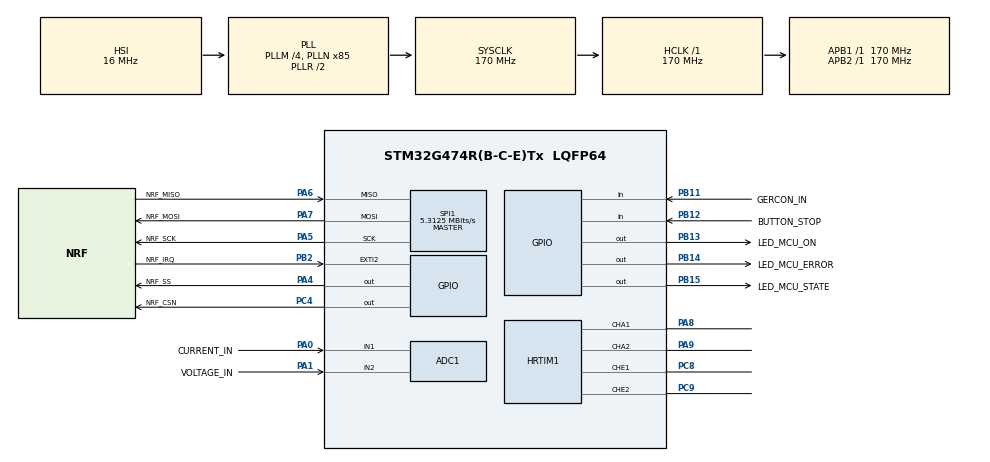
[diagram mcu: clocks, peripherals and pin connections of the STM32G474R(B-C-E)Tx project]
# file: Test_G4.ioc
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ADC1.EnableInjectedConversion=ENABLE
ADC1.EnableRegularConversion=DISABLE
ADC1.InjNumberOfConversion=2
ADC1.InjectedChannel-1\#ChannelInjectedConversion=ADC_CHANNEL_1
ADC1.InjectedChannel-2\#ChannelInjectedConversion=ADC_CHANNEL_2
ADC1.InjectedOffsetNumber-1\#ChannelInjectedConversion=ADC_OFFSET_NONE
ADC1.InjectedOffsetNumber-2\#ChannelInjectedConversion=ADC_OFFSET_NONE
ADC1.InjectedRank-1\#ChannelInjectedConversion=1
ADC1.InjectedRank-2\#ChannelInjectedConversion=2
ADC1.InjectedSamplingTime-1\#ChannelInjectedConversion=ADC_SAMPLETIME_47CYCLES_5
ADC1.InjectedSamplingTime-2\#ChannelInjectedConversion=ADC_SAMPLETIME_47CYCLES_5
ADC1.Rank2_Channel=ADC_CHANNEL_2
ADC1.master=1
HRTIM1.CompareUnit1-MasterTimer=HRTIM_COMPAREUNIT_1
HRTIM1.CompareUnit1-Output_TA1TA2=HRTIM_COMPAREUNIT_1
HRTIM1.CompareUnit1-Output_TE1TE2=HRTIM_COMPAREUNIT_1
HRTIM1.CompareUnit2-MasterTimer=HRTIM_COMPAREUNIT_2
HRTIM1.CompareValue1-MasterTimer=0x0080
HRTIM1.CompareValue1-Output_TA1TA2=0x3e80
HRTIM1.CompareValue1-Output_TE1TE2=0x3e80
HRTIM1.DeadTimeInsertion-Output_TA1TA2=HRTIM_TIMDEADTIMEINSERTION_ENABLED
HRTIM1.DeadTimeInsertion-Output_TE1TE2=HRTIM_TIMDEADTIMEINSERTION_ENABLED
HRTIM1.FallingValue-Output_TA1TA2=0x04f
HRTIM1.FallingValue-Output_TE1TE2=0x02f
HRTIM1.GreaterCMP1_TA=HRTIM_TIMERGTCMP1_EQUAL
HRTIM1.HRTIMInterruptResquests1=HRTIM_IT_SYSFLT
HRTIM1.ModeTimeBase-MasterTimer=HRTIM_MODE_CONTINUOUS
HRTIM1.ModeTimeBase-Output_TA1TA2=HRTIM_MODE_SINGLESHOT_RETRIGGERABLE
HRTIM1.ModeTimeBase-Output_TE1TE2=HRTIM_MODE_SINGLESHOT
HRTIM1.NumberResetSource1-Output_TA1TA2=1
HRTIM1.NumberResetSource1-Output_TE1TE2=1
HRTIM1.NumberResetTrigger-Output_TA1TA2=1
HRTIM1.NumberResetTrigger-Output_TE1TE2=1
HRTIM1.NumberSetSource1-Output_TA1TA2=1
HRTIM1.NumberSetSource1-Output_TE1TE2=1
HRTIM1.NumberUpdateTrigger-Output_TA1TA2=1
HRTIM1.NumberUpdateTrigger-Output_TE1TE2=1
HRTIM1.Periode_MASTER=0x675f
HRTIM1.Periode_TA=0x675F
HRTIM1.Periode_TE=0x7CFF
HRTIM1.PrescalerDead-Output_TA1TA2=HRTIM_TIMDEADTIME_PRESCALERRATIO_DIV1
HRTIM1.PrescalerDead-Output_TE1TE2=HRTIM_TIMDEADTIME_PRESCALERRATIO_DIV1
HRTIM1.PrescalerRatio_MASTER=HRTIM_PRESCALERRATIO_MUL16
HRTIM1.PrescalerRatio_TA=HRTIM_PRESCALERRATIO_MUL16
HRTIM1.PrescalerRatio_TE=HRTIM_PRESCALERRATIO_MUL16
HRTIM1.ResetOutput1_Source1-Output_TA1TA2=HRTIM_OUTPUTRESET_TIMPER
HRTIM1.ResetOutput1_Source1-Output_TE1TE2=HRTIM_OUTPUTRESET_TIMCMP1
HRTIM1.ResetTrigger1-Output_TA1TA2=HRTIM_TIMRESETTRIGGER_MASTER_CMP1
HRTIM1.ResetTrigger1-Output_TE1TE2=HRTIM_TIMRESETTRIGGER_MASTER_CMP2
HRTIM1.RisingValue-Output_TA1TA2=0x04f
HRTIM1.RisingValue-Output_TE1TE2=0x02f
HRTIM1.SetOutput1_Source1-Output_TA1TA2=HRTIM_OUTPUTSET_TIMPER
HRTIM1.SetOutput1_Source1-Output_TE1TE2=HRTIM_OUTPUTSET_TIMPER
HRTIM1.UpdateGating-Output_TA1TA2=HRTIM_UPDATEGATING_DMABURST
HRTIM1.UpdateTrigger1-Output_TA1TA2=HRTIM_TIMUPDATETRIGGER_MASTER
HRTIM1.UpdateTrigger1-Output_TE1TE2=HRTIM_TIMUPDATETRIGGER_MASTER
Mcu.Family=STM32G4
Mcu.Name=STM32G474R(B-C-E)Tx
Mcu.Package=LQFP64
NUCLEO-G474RE.BUTTON=1
NUCLEO-G474RE.LD2=false
NUCLEO-G474RE.VCP=true
NVIC.EXTI15_10_IRQn=true\:1\:0\:true\:false\:true\:true\:true\:true
NVIC.EXTI2_IRQn=true\:1\:0\:true\:false\:true\:true\:true\:true
NVIC.PriorityGroup=NVIC_PRIORITYGROUP_4
PA0.GPIO_Label=CURRENT_IN
PA0.Mode=IN1-Single-Ended
PA0.Signal=ADC1_IN1
PA1.GPIO_Label=VOLTAGE_IN
PA1.Mode=IN2-Single-Ended
PA1.Signal=ADC1_IN2
PA13.GPIO_Label=T_SWDIO
PA13.Mode=Serial_Wire
PA13.Signal=SYS_JTMS-SWDIO
PA14.GPIO_Label=T_SWCLK
PA14.Mode=Serial_Wire
PA14.Signal=SYS_JTCK-SWCLK
PA4.GPIO_Label=NRF_SS
PA4.GPIO_PuPd=GPIO_NOPULL
PA4.Signal=GPIO_Output
PA5.GPIO_Label=NRF_SCK
PA5.Mode=Full_Duplex_Master
PA5.Signal=SPI1_SCK
PA6.GPIO_Label=NRF_MISO
PA6.Mode=Full_Duplex_Master
PA6.Signal=SPI1_MISO
PA7.GPIO_Label=NRF_MOSI
PA7.Mode=Full_Duplex_Master
PA7.Signal=SPI1_MOSI
PA8.Mode=Output_TA1TA2
PA8.Signal=HRTIM1_CHA1
PA9.Mode=Output_TA1TA2
PA9.Signal=HRTIM1_CHA2
PB11.GPIO_Label=GERCON_IN
PB11.GPIO_PuPd=GPIO_PULLUP
PB11.Signal=GPIO_Input
PB12.GPIO_Label=BUTTON_STOP
PB12.GPIO_PuPd=GPIO_PULLDOWN
PB12.Signal=GPIO_Input
PB13.GPIO_Label=LED_MCU_ON
PB13.Signal=GPIO_Output
PB14.GPIO_Label=LED_MCU_ERROR
PB14.Signal=GPIO_Output
PB15.GPIO_Label=LED_MCU_STATE
PB15.Signal=GPIO_Output
PB2.GPIO_Label=NRF_IRQ
PB2.GPIO_ModeDefaultEXTI=GPIO_MODE_IT_FALLING
PB2.Signal=GPXTI2
PB3.GPIO_Label=T_SWO
PB3.Signal=SYS_JTDO-SWO
PC14-OSC32_IN.GPIO_Label=RCC_OSC32_IN
PC14-OSC32_IN.Signal=RCC_OSC32_IN
PC15-OSC32_OUT.GPIO_Label=RCC_OSC32_OUT
PC15-OSC32_OUT.Signal=RCC_OSC32_OUT
PC4.GPIO_Label=NRF_CSN
PC4.GPIO_PuPd=GPIO_NOPULL
PC4.Signal=GPIO_Output
PC8.Mode=Output_TE1TE2
PC8.Signal=HRTIM1_CHE1
PC9.Mode=Output_TE1TE2
PC9.Signal=HRTIM1_CHE2
PF0-OSC_IN.GPIO_Label=RCC_OSC_IN
PF0-OSC_IN.Mode=HSE-External-Oscillator
PF0-OSC_IN.Signal=RCC_OSC_IN
PF1-OSC_OUT.GPIO_Label=RCC_OSC_OUT
PF1-OSC_OUT.Mode=HSE-External-Oscillator
PF1-OSC_OUT.Signal=RCC_OSC_OUT
ProjectManager.HeapSize=0x200
ProjectManager.StackSize=0x400
ProjectManager.TargetToolchain=STM32CubeIDE
RCC.ADC12Freq_Value=170000000
RCC.ADC345Freq_Value=170000000
RCC.AHBFreq_Value=170000000
RCC.APB1Freq_Value=170000000
RCC.APB1TimCLKDivider=1
RCC.APB1TimFreq_Value=170000000
RCC.APB2Freq_Value=170000000
RCC.APB2TimFreq_Value=170000000
RCC.CortexFreq_Value=170000000
RCC.EXTERNAL_CLOCK_VALUE=12288000
RCC.HCLKFreq_Value=170000000
RCC.HSE_VALUE=24000000
RCC.HSI48_VALUE=48000000
RCC.HSI_VALUE=16000000
RCC.LSE_VALUE=32768
RCC.PLLM=RCC_PLLM_DIV4
RCC.PLLN=85
RCC.RTCClockSelection=RCC_RTCCLKSOURCE_LSE
RCC.SYSCLKFreq_VALUE=170000000
RCC.SYSCLKSource=RCC_SYSCLKSOURCE_PLLCLK
RCC.USBFreq_Value=170000000
RCC.VCOOutputFreq_Value=340000000
SPI1.BaudRatePrescaler=SPI_BAUDRATEPRESCALER_32
SPI1.CalculateBaudRate=5.3125 MBits/s
SPI1.DataSize=SPI_DATASIZE_8BIT
SPI1.Direction=SPI_DIRECTION_2LINES
SPI1.FirstBit=SPI_FIRSTBIT_MSB
SPI1.Mode=SPI_MODE_MASTER
SPI1.VirtualType=VM_MASTER
VP_HRTIM1_VS_hrtimMasterTimerNoOutput.Mode=MasterTimer
VP_NUCLEO-G474RE_VS_BSP_COMMON.Mode=COMMON
VP_SYS_VS_DBSignals.Mode=DisableDeadBatterySignals
board=NUCLEO-G474RE

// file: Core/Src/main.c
/* USER CODE BEGIN Header */
/**
  ******************************************************************************
  * @file           : main.c
  * @brief          : Main program body
  ******************************************************************************
  * @attention
  *
  * Copyright (c) 2025 STMicroelectronics.
  * All rights reserved.
  *
  * This software is licensed under terms that can be found in the LICENSE file
  * in the root directory of this software component.
  * If no LICENSE file comes with this software, it is provided AS-IS.
  *
  ******************************************************************************
  */
/* USER CODE END Header */
#include "main.h"

/* USER CODE BEGIN Includes */
#include <string.h>
#include <stdbool.h>
#include "stm32g474xx.h"
#include "stm32g4xx_hal.h"
#include "Drivers/myGPIO.h"
#include "Drivers/myVoltageRead.h"
#include "Drivers/ACS712.h"
#include "Drivers/myNRF.h"

/* USER CODE END Includes */

/* USER CODE BEGIN PTD */

typedef struct PID {
	float Kp;
	float Ki;
	float Kd;
} PID_t;

typedef enum PID_Param {
	Output_Current,
	Input_Power,
} PID_Param_e;

typedef struct MESSAGE {
	uint32_t id;
    uint32_t V_out_int;
    uint32_t I_out_int;

} message_t;
/* USER CODE END PTD */

/* USER CODE BEGIN PD */
/* Конфигурационные параметры ****************************************************************/
#define ADDR_WIDTH 5 // Размер адреса принимающего канал приемопередатчика
#define PLD_S 8 // Размер пакета принимаемых данных, байт
#define FILTER_SIZE 10 // Объем накапливаемых значений зарядного тока в алгоритме фильтрации
/********************************************************************************************/
#define period_WAIT 0x66A0
#define period_CHRG 0x66C0

/* [A] */
#define MAX_CURRENT 75.0f // Макисмальный допустимый ток в нагрузке
#define MIN_CURRENT 1.0f  // Минимальный допустимый ток в нагрузке
#define TARGET_CURRENT 70.0f // Целевое значение тока в нагрузке (для LB было 5.0f)

/* [B] */
#define MAX_CHARGE 35.0f // Макисмальное допустимое напряжение на нагрузке
#define MIN_CHARGE 15.0f  // Минимальное допустимое напряжение на нагрузке

#define VOLTAGE_SCALE 0.0855f // Коэфициент преобразования в вольты
#define CURRENT_SCALE 0.05f // [мA/В] Коэффициент преобразования в амперы

// пределы срабатывания фильтра
#define FILTER_INT_CURRENT_THRESHOLD 200
#define FILTER_INT_VOLTAGE_THRESHOLD 200

#define PID_TYPE Output_Current
/* USER CODE END PD */

COM_InitTypeDef BspCOMInit;
ADC_HandleTypeDef hadc1;

HRTIM_HandleTypeDef hhrtim1;

SPI_HandleTypeDef hspi1;

/* USER CODE BEGIN PV */
// Переменные для таймеров инвертера
uint16_t shift = 0;
uint16_t shift_normal = 0x0080;
uint16_t min_shift = 0x0080;

// Переменные для ПИД контроллера
float input = 0.0;  // PID constants
PID_t coeffs;
float previousError = 0.0f;   // Previous error for derivative term
float integral = 0.0f;        // Integral term
float P = 0.0f;
float I = 0.0f;
float D = 0.0f;
float error = 0.0f;
float ref = 5.0f;
float output = 0.0f;

// Переменные для обработки принятых пакетов данных

message_t message = {
	.id = 0,
	.V_out_int = 0,
	.I_out_int = 0
};

volatile uint32_t copter_id = 0;

// Физические измерения
volatile float copter_voltage = 0.0f;
volatile float copter_current = 0.0f;
volatile float copter_power = 0.0f;
float station_current = 0.0f;
float station_voltage = 0.0f;
float station_power = 0.0f;

// Переменные для фильтрации
volatile uint32_t receivedCurrents[FILTER_SIZE] = { 0 };
volatile uint32_t receivedVoltages[FILTER_SIZE] = { 0 };

volatile uint32_t sumI = 0;
volatile uint32_t cntI = 0;
volatile uint32_t sumV = 0;
volatile uint32_t cntV = 0;

// Переменные для коммуникации по SPI
const uint32_t CPOL = SPI_CR1_CPOL * 0;
const uint32_t CPHA = SPI_CR1_CPHA * 0;
const uint32_t pipe = 1024; //111156789; // адрес рабочей трубы;

// Переменные-счетчики
volatile uint32_t currentIndex = 0;

/* USER CODE END PV */

void SystemClock_Config(void);
static void MX_GPIO_Init(void);
static void MX_SPI1_Init(void);
static void MX_ADC1_Init(void);
static void MX_HRTIM1_Init(void);
/* USER CODE BEGIN PFP */
/*-------------- Функция итеративной фильтрации принятого значения зарядного тока --------------*/
void Filter()
{

	for (int i = 0; i < FILTER_SIZE; i++) {
		if (receivedCurrents[i] > FILTER_INT_CURRENT_THRESHOLD) {
			sumI += receivedCurrents[i];
			cntI++;
		}

		if (receivedVoltages[i] > FILTER_INT_VOLTAGE_THRESHOLD) {
			sumV += receivedVoltages[i];
			cntV++;
		}

	}

	copter_voltage = VOLTAGE_SCALE * (((sumV / cntV) * 3300.0) / 4096.0 );
	copter_current = CURRENT_SCALE * (((sumV / cntI) * 3300.0) / 4096.0 );

	copter_power = copter_voltage * copter_current;
}
// принимаем данные в прерывании на пине IRQ
uint8_t readData = 0;
void HAL_GPIO_EXTI_Callback(uint16_t GPIO_Pin)
{
	if (GPIO_Pin == NRF_IRQ_Pin){
		//printf("irq\n");

		NRF24_read(&readData, sizeof(readData));
		printf("irq: readData: 0x%x\n\r", readData);
		// если id бортового модуля не установлен -- записываем в него поле id
		// из принятого сообщения, т.е. выбираем данный модуль
		if (copter_id == 0){
			copter_id = message.id;
		}
		// если сообщение пришло от выбранного модуля -- записываем ток и напряжение
		// в массив для фильтрации, а также увеливаем счетчик принятых пакетов
		// чтобы вовремя отфильтровать значения
		if (message.id == copter_id){
			// фильтрация
			if (currentIndex <= FILTER_SIZE){
				receivedCurrents[currentIndex] = message.I_out_int;
				receivedVoltages[currentIndex] = message.V_out_int;
				currentIndex += 1;
			}else {
				currentIndex = 0;
				Filter();
			}
		}
		// если пришло сообщение от не выбранного модуля -- пропускаем его

	}

}
/* USER CODE END PFP */

/* USER CODE BEGIN 0 */

/*-------------- ПИД контроллер --------------*/
void PID_Control(PID_Param_e param, PID_t *coeffs)
{
	if (param == Input_Power) {
		coeffs->Kp = 5.0f;
		coeffs->Ki = 0.0f;
		coeffs->Kd = 20.0f;
		input = copter_power;
		ref = 165.0;
	}
	else if (param == Output_Current) {
		coeffs->Kp = 180.0f;
		coeffs->Ki = 0.0f;
		coeffs->Kd = 500.0f;
		input = copter_current;
		ref = TARGET_CURRENT;
	}
	// Вычисление ошибки
	error = ref - input;

	// Удержание ошибки в рамках значений, имеющих физический смысл

	// Пропорциональное слагаемое
	P = coeffs->Kp * error;

	// Интегральное слагаемое
	integral += error;

	I = coeffs->Ki * integral;

	// Дифференциальное слагаемое
	D = coeffs->Kd * (error - previousError);

	/* Выходное значение ПИД контроллера. Интегральное слагаемое не используется для избежания накопления ошибки */
	output = P + I + D;

	// Обновление значени ошибки
	previousError = error;

	// Корректировка фазового сдвига
	shift += (int16_t)output;

	// Удержание значение фазового сдвига в рамках значений, имеющих физический смысл
	if (shift > ((period_CHRG / 2) - 0x0080)) shift = (period_CHRG / 2 - 2 * 0x0080);
	else if (shift < 0x0080) shift = 0;
	shift_normal = shift;

	// Установка скорректированного значений фазового сдвига
	if (shift_normal > 0) {
		__HAL_HRTIM_SETCOMPARE(&hhrtim1, HRTIM_TIMERINDEX_MASTER, HRTIM_COMPAREUNIT_1, (period_CHRG / 2 - 0x0080 - shift_normal));
	}
}
/*-------------- Функция инициализации приемопередатчика --------------*/
void NRF24_Init(void)
{
	NRF24_begin(hspi1);
	//nrf24_DebugUART_Init(huart2);
	NRF24_setDataRate(RF24_250KBPS);
	NRF24_setCRCLength(RF24_CRC_8);
	//NRF24_setPALevel(RF24_PA_0dB);
	NRF24_setChannel(0x6f);
	NRF24_setPayloadSize(1);
	NRF24_setAutoAck(0);
	NRF24_powerUp();
	NRF24_openReadingPipe(0, pipe);
	//NRF24_startListening();

   // printRadioSettings();
}

/*-------------- Функция установления частоты управляющего инвертором сигнала --------------*/
void HRTIM_Init(uint32_t period)
{
	__HAL_HRTIM_SETPERIOD(&hhrtim1, HRTIM_TIMERINDEX_MASTER, period);
	__HAL_HRTIM_SETPERIOD(&hhrtim1, HRTIM_TIMERINDEX_TIMER_A, period);
	__HAL_HRTIM_SETPERIOD(&hhrtim1, HRTIM_TIMERINDEX_TIMER_D, period);

	__HAL_HRTIM_SETCOMPARE(&hhrtim1, HRTIM_TIMERINDEX_MASTER, HRTIM_COMPAREUNIT_1, period / 2 - 0x0080);
	__HAL_HRTIM_SETCOMPARE(&hhrtim1, HRTIM_TIMERINDEX_MASTER, HRTIM_COMPAREUNIT_2, period / 2);
	__HAL_HRTIM_SETCOMPARE(&hhrtim1, HRTIM_TIMERINDEX_TIMER_A, HRTIM_COMPAREUNIT_1, period / 2);
	__HAL_HRTIM_SETCOMPARE(&hhrtim1, HRTIM_TIMERINDEX_TIMER_D, HRTIM_COMPAREUNIT_1, period / 2);

	HAL_HRTIM_WaveformCounterStart(&hhrtim1, HRTIM_TIMERID_MASTER);

	HAL_HRTIM_WaveformOutputStart(&hhrtim1, HRTIM_OUTPUT_TD1);
	HAL_HRTIM_WaveformOutputStart(&hhrtim1, HRTIM_OUTPUT_TD2);
	HAL_HRTIM_WaveformCounterStart(&hhrtim1, HRTIM_TIMERID_TIMER_D);

	HAL_HRTIM_WaveformOutputStart(&hhrtim1, HRTIM_OUTPUT_TA1);
	HAL_HRTIM_WaveformOutputStart(&hhrtim1, HRTIM_OUTPUT_TA2);
	HAL_HRTIM_WaveformCounterStart(&hhrtim1, HRTIM_TIMERID_TIMER_A);
}

/*-------------- Функция изменения фазового сдвига --------------*/
void Change_Shift(void)
{
	__HAL_HRTIM_SETPERIOD(&hhrtim1, HRTIM_TIMERINDEX_MASTER, period_CHRG);
	__HAL_HRTIM_SETPERIOD(&hhrtim1, HRTIM_TIMERINDEX_TIMER_A, period_CHRG);
	__HAL_HRTIM_SETPERIOD(&hhrtim1, HRTIM_TIMERINDEX_TIMER_D, period_CHRG);

	__HAL_HRTIM_SETCOMPARE(&hhrtim1, HRTIM_TIMERINDEX_MASTER, HRTIM_COMPAREUNIT_2, period_CHRG / 2);
	__HAL_HRTIM_SETCOMPARE(&hhrtim1, HRTIM_TIMERINDEX_TIMER_A, HRTIM_COMPAREUNIT_1, period_CHRG / 2);
	__HAL_HRTIM_SETCOMPARE(&hhrtim1, HRTIM_TIMERINDEX_TIMER_D, HRTIM_COMPAREUNIT_1, period_CHRG / 2);

	// фазовый сдвиг устанавливается согласно прцедуре ПИД контроллера
	PID_Control(PID_TYPE, &coeffs);
	__HAL_HRTIM_SETCOMPARE(&hhrtim1, HRTIM_TIMERINDEX_MASTER, HRTIM_COMPAREUNIT_1, (period_CHRG / 2 - 0x0080 - shift_normal));

}
/* USER CODE END 0 */

int main(void)
{

  /* MCU Configuration--------------------------------------------------------*/

  /* Reset of all peripherals, Initializes the Flash interface and the Systick. */
  HAL_Init();

  /* Configure the system clock */
  SystemClock_Config();

  /* Initialize all configured peripherals */
  MX_GPIO_Init();
  MX_SPI1_Init();
  MX_ADC1_Init();
  MX_HRTIM1_Init();
  /* USER CODE BEGIN 2 */
  GPIO_Set(LED_MCU_ON_GPIO_Port, LED_MCU_ON_Pin);
  printf("HAL is inited. Init NRF...");

	/*-------------- Инициализация приемопередатчика --------------*/
	DelayMicro(5000);
	NRF24_Init();
	NRF24_flush_tx();
	printConfigReg();
	printStatusReg();
	printFIFOstatus();
	bool isP = NRF24_isNRF_Plus();
	DelayMicro(1000);
	printf("Done!\n");

	// Установление частоты управляющего инвертором сигнала
	HRTIM_Init(period_WAIT);
  /* USER CODE END 2 */

  /* Initialize USER push-button, will be used to trigger an interrupt each time it's pressed.*/
  BSP_PB_Init(BUTTON_USER, BUTTON_MODE_EXTI);

  /* Initialize COM1 port (115200, 8 bits (7-bit data + 1 stop bit), no parity */
  BspCOMInit.BaudRate   = 115200;
  BspCOMInit.WordLength = COM_WORDLENGTH_8B;
  BspCOMInit.StopBits   = COM_STOPBITS_1;
  BspCOMInit.Parity     = COM_PARITY_NONE;
  BspCOMInit.HwFlowCtl  = COM_HWCONTROL_NONE;
  if (BSP_COM_Init(COM1, &BspCOMInit) != BSP_ERROR_NONE)
  {
    Error_Handler();
  }

  /* Infinite loop */
  /* USER CODE BEGIN WHILE */
  //printf("Main loop start");
	// Основной цикл программы
	while (1)
	{	// секция БЕЗ прерываний для считывания показаний датчиком станции
		__disable_irq();
		// Считывание тока и напряжения зарядной станции
		station_current = ACS712_ReadCurrentDC(&hadc1);
		station_voltage = myVoltageRead(&hadc1);

		// Проверка на заданные диапазоны тока и напряжения зарядной станции
		if ((station_current > ACS712_20A_MAX_CURRENT)||(station_current < ACS712_20A_MIN_CURRENT)){
			GPIO_Set(LED_MCU_ERROR_GPIO_Port, LED_MCU_ERROR_Pin);
		}
		else{
			GPIO_Reset(LED_MCU_ERROR_GPIO_Port, LED_MCU_ERROR_Pin);
		}

		if ((station_voltage > MAX_VOLTAGE)||(station_voltage < MIN_VOLTAGE)){
			GPIO_Set(LED_MCU_ERROR_GPIO_Port, LED_MCU_ERROR_Pin);
		}
		else{
			GPIO_Reset(LED_MCU_ERROR_GPIO_Port, LED_MCU_ERROR_Pin);
		}

		// Вывод информации по датчику
		//ACS712_DebugPrintf(&hadc1);
		// при нажатии на кнопку останавливаем таймер
		// при отжатии -- включаем
		int buttonStopState = pinReadDebounce(BUTTON_STOP_GPIO_Port, BUTTON_STOP_Pin, IS_BUTTON_PULLED_UP);
		//printf("\n\tDebug button stop: state %i", buttonStopState);
		int gerconState = pinReadDebounce(GERCON_IN_GPIO_Port, GERCON_IN_Pin, IS_BUTTON_PULLED_UP);
		//printf("\n\tDebug gercon: state %i", gerconState);

		__enable_irq();

		// ждем секунду для считывания пакета данных с бортового модуля
		NRF24_startListening();
		HAL_Delay(1000);
//		NRF24_stopListening();

		int dataIsHere = NRF24_available();
//
//		if (dataIsHere){
//			uint8_t readData = 0;
//			NRF24_read(&readData, sizeof(readData));
//			printf("data: %d", readData);
//			HAL_Delay(50);
//		}
//		printf("Message id: %li\n", message.id);
//		printf("Message i: %li\n", message.I_out_int);
//		printf("Message v: %li\n", message.V_out_int);

		if (buttonStopState){
		//	printf("\n\t Button stop pressed, disable hrtim");
			__HAL_HRTIM_DISABLE(&hhrtim1, HRTIM_TIMERINDEX_MASTER);
			__HAL_HRTIM_DISABLE(&hhrtim1, HRTIM_TIMERINDEX_TIMER_A);
			__HAL_HRTIM_DISABLE(&hhrtim1, HRTIM_TIMERINDEX_TIMER_E);
		}else{
//			printf("\n\t Button stop not pressed, enable hrtim");
			__HAL_HRTIM_ENABLE(&hhrtim1, HRTIM_TIMERINDEX_MASTER);
			__HAL_HRTIM_ENABLE(&hhrtim1, HRTIM_TIMERINDEX_TIMER_A);
			__HAL_HRTIM_ENABLE(&hhrtim1, HRTIM_TIMERINDEX_TIMER_E);
		}

		if (gerconState){
			// Если геркон нажат -- дрон на месте, заряжаем
			printf("\n\tGercon is pressed");

			// Проверка на заданные диапазоны тока и напряжения коптера
			if ((copter_current > MAX_CURRENT) | (copter_current < MIN_CURRENT)) {
				//state = WAIT;
				printf("\n\tCopter current are out of range, waiting 1 minute...");
				GPIO_Set(LED_MCU_ERROR_GPIO_Port, LED_MCU_ERROR_Pin);
				HRTIM_Init(period_WAIT);
				__HAL_HRTIM_SETCOMPARE(&hhrtim1, HRTIM_TIMERINDEX_MASTER, HRTIM_COMPAREUNIT_1, (period_WAIT / 2 - 0x0080));
				GPIO_Reset(LED_MCU_ERROR_GPIO_Port, LED_MCU_ERROR_Pin);
				DelayMicro(60 * 1000000);
				printf("\n\tDone");
			}

			if ((copter_voltage > MAX_CHARGE) | (copter_voltage < MIN_CHARGE)) {
				//state = WAIT;
				printf("\n\tCopter voltage are out of range, waiting 1 minute...");
				GPIO_Set(LED_MCU_ERROR_GPIO_Port, LED_MCU_ERROR_Pin);
				GPIO_Reset(LED_MCU_ERROR_GPIO_Port, LED_MCU_ERROR_Pin);
				DelayMicro(60 * 1000000);
				printf("\n\tDone");
				}

			if ((copter_current > MIN_CURRENT) & (copter_current < MAX_CURRENT) & (copter_voltage > MIN_CHARGE) & (copter_voltage < MAX_CHARGE))
			{
				//state = CHRG;
				printf("\n\t State: Charge");
				HRTIM_Init(period_CHRG);
				__disable_irq();
				Change_Shift();
				__enable_irq();

				HAL_GPIO_TogglePin(LED_MCU_STATE_GPIO_Port, LED_MCU_STATE_Pin);
				HAL_Delay(500);
			}
			else
			{
				// процедура ожидания
				//state = WAIT;

				printf("\n\t State: WAIT");
				HRTIM_Init(period_WAIT);
				GPIO_Set(LED_MCU_STATE_GPIO_Port, LED_MCU_STATE_Pin);
			}

		}
		else{
			// если коптер улетел и геркон не нажат -- обнуляем переменную-id
			copter_id = 0;
		}
		// задержка между итерациями
		HAL_Delay(500);

    /* USER CODE END WHILE */

	}
}

void SystemClock_Config(void)
{
  RCC_OscInitTypeDef RCC_OscInitStruct = {0};
  RCC_ClkInitTypeDef RCC_ClkInitStruct = {0};

  /** Configure the main internal regulator output voltage
  */
  HAL_PWREx_ControlVoltageScaling(PWR_REGULATOR_VOLTAGE_SCALE1_BOOST);

  /** Initializes the RCC Oscillators according to the specified parameters
  * in the RCC_OscInitTypeDef structure.
  */
  RCC_OscInitStruct.OscillatorType = RCC_OSCILLATORTYPE_HSI;
  RCC_OscInitStruct.HSIState = RCC_HSI_ON;
  RCC_OscInitStruct.HSICalibrationValue = RCC_HSICALIBRATION_DEFAULT;
  RCC_OscInitStruct.PLL.PLLState = RCC_PLL_ON;
  RCC_OscInitStruct.PLL.PLLSource = RCC_PLLSOURCE_HSI;
  RCC_OscInitStruct.PLL.PLLM = RCC_PLLM_DIV4;
  RCC_OscInitStruct.PLL.PLLN = 85;
  RCC_OscInitStruct.PLL.PLLP = RCC_PLLP_DIV2;
  RCC_OscInitStruct.PLL.PLLQ = RCC_PLLQ_DIV2;
  RCC_OscInitStruct.PLL.PLLR = RCC_PLLR_DIV2;
  if (HAL_RCC_OscConfig(&RCC_OscInitStruct) != HAL_OK)
  {
    Error_Handler();
  }

  /** Initializes the CPU, AHB and APB buses clocks
  */
  RCC_ClkInitStruct.ClockType = RCC_CLOCKTYPE_HCLK|RCC_CLOCKTYPE_SYSCLK
                              |RCC_CLOCKTYPE_PCLK1|RCC_CLOCKTYPE_PCLK2;
  RCC_ClkInitStruct.SYSCLKSource = RCC_SYSCLKSOURCE_PLLCLK;
  RCC_ClkInitStruct.AHBCLKDivider = RCC_SYSCLK_DIV1;
  RCC_ClkInitStruct.APB1CLKDivider = RCC_HCLK_DIV1;
  RCC_ClkInitStruct.APB2CLKDivider = RCC_HCLK_DIV1;

  if (HAL_RCC_ClockConfig(&RCC_ClkInitStruct, FLASH_LATENCY_4) != HAL_OK)
  {
    Error_Handler();
  }
}

static void MX_ADC1_Init(void)
{

  ADC_MultiModeTypeDef multimode = {0};
  ADC_InjectionConfTypeDef sConfigInjected = {0};

  /** Common config
  */
  hadc1.Instance = ADC1;
  hadc1.Init.ClockPrescaler = ADC_CLOCK_SYNC_PCLK_DIV4;
  hadc1.Init.Resolution = ADC_RESOLUTION_12B;
  hadc1.Init.DataAlign = ADC_DATAALIGN_RIGHT;
  hadc1.Init.GainCompensation = 0;
  hadc1.Init.ScanConvMode = ADC_SCAN_ENABLE;
  hadc1.Init.EOCSelection = ADC_EOC_SINGLE_CONV;
  hadc1.Init.LowPowerAutoWait = DISABLE;
  hadc1.Init.ContinuousConvMode = DISABLE;
  hadc1.Init.NbrOfConversion = 1;
  hadc1.Init.DiscontinuousConvMode = DISABLE;
  hadc1.Init.DMAContinuousRequests = DISABLE;
  hadc1.Init.Overrun = ADC_OVR_DATA_PRESERVED;
  hadc1.Init.OversamplingMode = DISABLE;
  if (HAL_ADC_Init(&hadc1) != HAL_OK)
  {
    Error_Handler();
  }

  /** Configure the ADC multi-mode
  */
  multimode.Mode = ADC_MODE_INDEPENDENT;
  if (HAL_ADCEx_MultiModeConfigChannel(&hadc1, &multimode) != HAL_OK)
  {
    Error_Handler();
  }

  /** Configure Injected Channel
  */
  sConfigInjected.InjectedChannel = ADC_CHANNEL_1;
  sConfigInjected.InjectedRank = ADC_INJECTED_RANK_1;
  sConfigInjected.InjectedSamplingTime = ADC_SAMPLETIME_47CYCLES_5;
  sConfigInjected.InjectedSingleDiff = ADC_SINGLE_ENDED;
  sConfigInjected.InjectedOffsetNumber = ADC_OFFSET_NONE;
  sConfigInjected.InjectedOffset = 0;
  sConfigInjected.InjectedNbrOfConversion = 2;
  sConfigInjected.InjectedDiscontinuousConvMode = DISABLE;
  sConfigInjected.AutoInjectedConv = DISABLE;
  sConfigInjected.QueueInjectedContext = DISABLE;
  sConfigInjected.ExternalTrigInjecConv = ADC_INJECTED_SOFTWARE_START;
  sConfigInjected.ExternalTrigInjecConvEdge = ADC_EXTERNALTRIGINJECCONV_EDGE_NONE;
  sConfigInjected.InjecOversamplingMode = DISABLE;
  if (HAL_ADCEx_InjectedConfigChannel(&hadc1, &sConfigInjected) != HAL_OK)
  {
    Error_Handler();
  }

  /** Configure Injected Channel
  */
  sConfigInjected.InjectedChannel = ADC_CHANNEL_2;
  sConfigInjected.InjectedRank = ADC_INJECTED_RANK_2;
  if (HAL_ADCEx_InjectedConfigChannel(&hadc1, &sConfigInjected) != HAL_OK)
  {
    Error_Handler();
  }

}

static void MX_HRTIM1_Init(void)
{

  HRTIM_TimeBaseCfgTypeDef pTimeBaseCfg = {0};
  HRTIM_TimerCfgTypeDef pTimerCfg = {0};
  HRTIM_CompareCfgTypeDef pCompareCfg = {0};
  HRTIM_TimerCtlTypeDef pTimerCtl = {0};
  HRTIM_DeadTimeCfgTypeDef pDeadTimeCfg = {0};
  HRTIM_OutputCfgTypeDef pOutputCfg = {0};

  hhrtim1.Instance = HRTIM1;
  hhrtim1.Init.HRTIMInterruptResquests = HRTIM_IT_SYSFLT;
  hhrtim1.Init.SyncOptions = HRTIM_SYNCOPTION_NONE;
  if (HAL_HRTIM_Init(&hhrtim1) != HAL_OK)
  {
    Error_Handler();
  }
  if (HAL_HRTIM_DLLCalibrationStart(&hhrtim1, HRTIM_CALIBRATIONRATE_3) != HAL_OK)
  {
    Error_Handler();
  }
  if (HAL_HRTIM_PollForDLLCalibration(&hhrtim1, 10) != HAL_OK)
  {
    Error_Handler();
  }
  pTimeBaseCfg.Period = 0x675f;
  pTimeBaseCfg.RepetitionCounter = 0x00;
  pTimeBaseCfg.PrescalerRatio = HRTIM_PRESCALERRATIO_MUL16;
  pTimeBaseCfg.Mode = HRTIM_MODE_CONTINUOUS;
  if (HAL_HRTIM_TimeBaseConfig(&hhrtim1, HRTIM_TIMERINDEX_MASTER, &pTimeBaseCfg) != HAL_OK)
  {
    Error_Handler();
  }
  pTimerCfg.InterruptRequests = HRTIM_MASTER_IT_NONE;
  pTimerCfg.DMARequests = HRTIM_MASTER_DMA_NONE;
  pTimerCfg.DMASrcAddress = 0x0000;
  pTimerCfg.DMADstAddress = 0x0000;
  pTimerCfg.DMASize = 0x1;
  pTimerCfg.HalfModeEnable = HRTIM_HALFMODE_DISABLED;
  pTimerCfg.InterleavedMode = HRTIM_INTERLEAVED_MODE_DISABLED;
  pTimerCfg.StartOnSync = HRTIM_SYNCSTART_DISABLED;
  pTimerCfg.ResetOnSync = HRTIM_SYNCRESET_DISABLED;
  pTimerCfg.DACSynchro = HRTIM_DACSYNC_NONE;
  pTimerCfg.PreloadEnable = HRTIM_PRELOAD_DISABLED;
  pTimerCfg.UpdateGating = HRTIM_UPDATEGATING_INDEPENDENT;
  pTimerCfg.BurstMode = HRTIM_TIMERBURSTMODE_MAINTAINCLOCK;
  pTimerCfg.RepetitionUpdate = HRTIM_UPDATEONREPETITION_DISABLED;
  pTimerCfg.ReSyncUpdate = HRTIM_TIMERESYNC_UPDATE_UNCONDITIONAL;
  if (HAL_HRTIM_WaveformTimerConfig(&hhrtim1, HRTIM_TIMERINDEX_MASTER, &pTimerCfg) != HAL_OK)
  {
    Error_Handler();
  }
  pCompareCfg.CompareValue = 0x0080;
  if (HAL_HRTIM_WaveformCompareConfig(&hhrtim1, HRTIM_TIMERINDEX_MASTER, HRTIM_COMPAREUNIT_1, &pCompareCfg) != HAL_OK)
  {
    Error_Handler();
  }
  pCompareCfg.CompareValue = 0xFFEF;
  if (HAL_HRTIM_WaveformCompareConfig(&hhrtim1, HRTIM_TIMERINDEX_MASTER, HRTIM_COMPAREUNIT_2, &pCompareCfg) != HAL_OK)
  {
    Error_Handler();
  }
  pTimeBaseCfg.Period = 0x675F;
  pTimeBaseCfg.Mode = HRTIM_MODE_SINGLESHOT_RETRIGGERABLE;
  if (HAL_HRTIM_TimeBaseConfig(&hhrtim1, HRTIM_TIMERINDEX_TIMER_A, &pTimeBaseCfg) != HAL_OK)
  {
    Error_Handler();
  }
  pTimerCtl.UpDownMode = HRTIM_TIMERUPDOWNMODE_UP;
  pTimerCtl.GreaterCMP1 = HRTIM_TIMERGTCMP1_EQUAL;
  pTimerCtl.DualChannelDacEnable = HRTIM_TIMER_DCDE_DISABLED;
  if (HAL_HRTIM_WaveformTimerControl(&hhrtim1, HRTIM_TIMERINDEX_TIMER_A, &pTimerCtl) != HAL_OK)
  {
    Error_Handler();
  }
  pTimerCfg.InterruptRequests = HRTIM_TIM_IT_NONE;
  pTimerCfg.DMARequests = HRTIM_TIM_DMA_NONE;
  pTimerCfg.UpdateGating = HRTIM_UPDATEGATING_DMABURST;
  pTimerCfg.PushPull = HRTIM_TIMPUSHPULLMODE_DISABLED;
  pTimerCfg.FaultEnable = HRTIM_TIMFAULTENABLE_NONE;
  pTimerCfg.FaultLock = HRTIM_TIMFAULTLOCK_READWRITE;
  pTimerCfg.DeadTimeInsertion = HRTIM_TIMDEADTIMEINSERTION_ENABLED;
  pTimerCfg.DelayedProtectionMode = HRTIM_TIMER_A_B_C_DELAYEDPROTECTION_DISABLED;
  pTimerCfg.UpdateTrigger = HRTIM_TIMUPDATETRIGGER_MASTER;
  pTimerCfg.ResetTrigger = HRTIM_TIMRESETTRIGGER_MASTER_CMP1;
  pTimerCfg.ResetUpdate = HRTIM_TIMUPDATEONRESET_DISABLED;
  if (HAL_HRTIM_WaveformTimerConfig(&hhrtim1, HRTIM_TIMERINDEX_TIMER_A, &pTimerCfg) != HAL_OK)
  {
    Error_Handler();
  }
  pTimerCfg.UpdateGating = HRTIM_UPDATEGATING_INDEPENDENT;
  pTimerCfg.DelayedProtectionMode = HRTIM_TIMER_D_E_DELAYEDPROTECTION_DISABLED;
  pTimerCfg.ResetTrigger = HRTIM_TIMRESETTRIGGER_MASTER_CMP2;
  if (HAL_HRTIM_WaveformTimerConfig(&hhrtim1, HRTIM_TIMERINDEX_TIMER_E, &pTimerCfg) != HAL_OK)
  {
    Error_Handler();
  }
  pCompareCfg.CompareValue = 0x3e80;
  if (HAL_HRTIM_WaveformCompareConfig(&hhrtim1, HRTIM_TIMERINDEX_TIMER_A, HRTIM_COMPAREUNIT_1, &pCompareCfg) != HAL_OK)
  {
    Error_Handler();
  }
  pDeadTimeCfg.Prescaler = HRTIM_TIMDEADTIME_PRESCALERRATIO_DIV1;
  pDeadTimeCfg.RisingValue = 0x04f;
  pDeadTimeCfg.RisingSign = HRTIM_TIMDEADTIME_RISINGSIGN_POSITIVE;
  pDeadTimeCfg.RisingLock = HRTIM_TIMDEADTIME_RISINGLOCK_WRITE;
  pDeadTimeCfg.RisingSignLock = HRTIM_TIMDEADTIME_RISINGSIGNLOCK_WRITE;
  pDeadTimeCfg.FallingValue = 0x04f;
  pDeadTimeCfg.FallingSign = HRTIM_TIMDEADTIME_FALLINGSIGN_POSITIVE;
  pDeadTimeCfg.FallingLock = HRTIM_TIMDEADTIME_FALLINGLOCK_WRITE;
  pDeadTimeCfg.FallingSignLock = HRTIM_TIMDEADTIME_FALLINGSIGNLOCK_WRITE;
  if (HAL_HRTIM_DeadTimeConfig(&hhrtim1, HRTIM_TIMERINDEX_TIMER_A, &pDeadTimeCfg) != HAL_OK)
  {
    Error_Handler();
  }
  pDeadTimeCfg.RisingValue = 0x02f;
  pDeadTimeCfg.FallingValue = 0x02f;
  if (HAL_HRTIM_DeadTimeConfig(&hhrtim1, HRTIM_TIMERINDEX_TIMER_E, &pDeadTimeCfg) != HAL_OK)
  {
    Error_Handler();
  }
  pOutputCfg.Polarity = HRTIM_OUTPUTPOLARITY_HIGH;
  pOutputCfg.SetSource = HRTIM_OUTPUTSET_TIMPER;
  pOutputCfg.ResetSource = HRTIM_OUTPUTRESET_TIMPER;
  pOutputCfg.IdleMode = HRTIM_OUTPUTIDLEMODE_NONE;
  pOutputCfg.IdleLevel = HRTIM_OUTPUTIDLELEVEL_INACTIVE;
  pOutputCfg.FaultLevel = HRTIM_OUTPUTFAULTLEVEL_NONE;
  pOutputCfg.ChopperModeEnable = HRTIM_OUTPUTCHOPPERMODE_DISABLED;
  pOutputCfg.BurstModeEntryDelayed = HRTIM_OUTPUTBURSTMODEENTRY_REGULAR;
  if (HAL_HRTIM_WaveformOutputConfig(&hhrtim1, HRTIM_TIMERINDEX_TIMER_A, HRTIM_OUTPUT_TA1, &pOutputCfg) != HAL_OK)
  {
    Error_Handler();
  }
  pOutputCfg.ResetSource = HRTIM_OUTPUTRESET_TIMCMP1;
  if (HAL_HRTIM_WaveformOutputConfig(&hhrtim1, HRTIM_TIMERINDEX_TIMER_E, HRTIM_OUTPUT_TE1, &pOutputCfg) != HAL_OK)
  {
    Error_Handler();
  }
  pOutputCfg.SetSource = HRTIM_OUTPUTSET_NONE;
  pOutputCfg.ResetSource = HRTIM_OUTPUTRESET_NONE;
  if (HAL_HRTIM_WaveformOutputConfig(&hhrtim1, HRTIM_TIMERINDEX_TIMER_A, HRTIM_OUTPUT_TA2, &pOutputCfg) != HAL_OK)
  {
    Error_Handler();
  }
  if (HAL_HRTIM_WaveformOutputConfig(&hhrtim1, HRTIM_TIMERINDEX_TIMER_E, HRTIM_OUTPUT_TE2, &pOutputCfg) != HAL_OK)
  {
    Error_Handler();
  }
  pTimeBaseCfg.Period = 0x7CFF;
  pTimeBaseCfg.Mode = HRTIM_MODE_SINGLESHOT;
  if (HAL_HRTIM_TimeBaseConfig(&hhrtim1, HRTIM_TIMERINDEX_TIMER_E, &pTimeBaseCfg) != HAL_OK)
  {
    Error_Handler();
  }
  if (HAL_HRTIM_WaveformTimerControl(&hhrtim1, HRTIM_TIMERINDEX_TIMER_E, &pTimerCtl) != HAL_OK)
  {
    Error_Handler();
  }
  if (HAL_HRTIM_WaveformCompareConfig(&hhrtim1, HRTIM_TIMERINDEX_TIMER_E, HRTIM_COMPAREUNIT_1, &pCompareCfg) != HAL_OK)
  {
    Error_Handler();
  }
  HAL_HRTIM_MspPostInit(&hhrtim1);

}

static void MX_SPI1_Init(void)
{

  /* SPI1 parameter configuration*/
  hspi1.Instance = SPI1;
  hspi1.Init.Mode = SPI_MODE_MASTER;
  hspi1.Init.Direction = SPI_DIRECTION_2LINES;
  hspi1.Init.DataSize = SPI_DATASIZE_8BIT;
  hspi1.Init.CLKPolarity = SPI_POLARITY_LOW;
  hspi1.Init.CLKPhase = SPI_PHASE_1EDGE;
  hspi1.Init.NSS = SPI_NSS_SOFT;
  hspi1.Init.BaudRatePrescaler = SPI_BAUDRATEPRESCALER_32;
  hspi1.Init.FirstBit = SPI_FIRSTBIT_MSB;
  hspi1.Init.TIMode = SPI_TIMODE_DISABLE;
  hspi1.Init.CRCCalculation = SPI_CRCCALCULATION_DISABLE;
  hspi1.Init.CRCPolynomial = 7;
  hspi1.Init.CRCLength = SPI_CRC_LENGTH_DATASIZE;
  hspi1.Init.NSSPMode = SPI_NSS_PULSE_ENABLE;
  if (HAL_SPI_Init(&hspi1) != HAL_OK)
  {
    Error_Handler();
  }

}

static void MX_GPIO_Init(void)
{
  GPIO_InitTypeDef GPIO_InitStruct = {0};

  /* GPIO Ports Clock Enable */
  __HAL_RCC_GPIOC_CLK_ENABLE();
  __HAL_RCC_GPIOF_CLK_ENABLE();
  __HAL_RCC_GPIOA_CLK_ENABLE();
  __HAL_RCC_GPIOB_CLK_ENABLE();

  /*Configure GPIO pin Output Level */
  HAL_GPIO_WritePin(NRF_SS_GPIO_Port, NRF_SS_Pin, GPIO_PIN_RESET);

  /*Configure GPIO pin Output Level */
  HAL_GPIO_WritePin(NRF_CSN_GPIO_Port, NRF_CSN_Pin, GPIO_PIN_RESET);

  /*Configure GPIO pin Output Level */
  HAL_GPIO_WritePin(GPIOB, LED_MCU_ON_Pin|LED_MCU_ERROR_Pin|LED_MCU_STATE_Pin, GPIO_PIN_RESET);

  /*Configure GPIO pin : NRF_SS_Pin */
  GPIO_InitStruct.Pin = NRF_SS_Pin;
  GPIO_InitStruct.Mode = GPIO_MODE_OUTPUT_PP;
  GPIO_InitStruct.Pull = GPIO_NOPULL;
  GPIO_InitStruct.Speed = GPIO_SPEED_FREQ_LOW;
  HAL_GPIO_Init(NRF_SS_GPIO_Port, &GPIO_InitStruct);

  /*Configure GPIO pin : NRF_CSN_Pin */
  GPIO_InitStruct.Pin = NRF_CSN_Pin;
  GPIO_InitStruct.Mode = GPIO_MODE_OUTPUT_PP;
  GPIO_InitStruct.Pull = GPIO_NOPULL;
  GPIO_InitStruct.Speed = GPIO_SPEED_FREQ_LOW;
  HAL_GPIO_Init(NRF_CSN_GPIO_Port, &GPIO_InitStruct);

  /*Configure GPIO pin : NRF_IRQ_Pin */
  GPIO_InitStruct.Pin = NRF_IRQ_Pin;
  GPIO_InitStruct.Mode = GPIO_MODE_IT_FALLING;
  GPIO_InitStruct.Pull = GPIO_NOPULL;
  HAL_GPIO_Init(NRF_IRQ_GPIO_Port, &GPIO_InitStruct);

  /*Configure GPIO pin : GERCON_IN_Pin */
  GPIO_InitStruct.Pin = GERCON_IN_Pin;
  GPIO_InitStruct.Mode = GPIO_MODE_INPUT;
  GPIO_InitStruct.Pull = GPIO_PULLUP;
  HAL_GPIO_Init(GERCON_IN_GPIO_Port, &GPIO_InitStruct);

  /*Configure GPIO pin : BUTTON_STOP_Pin */
  GPIO_InitStruct.Pin = BUTTON_STOP_Pin;
  GPIO_InitStruct.Mode = GPIO_MODE_INPUT;
  GPIO_InitStruct.Pull = GPIO_PULLDOWN;
  HAL_GPIO_Init(BUTTON_STOP_GPIO_Port, &GPIO_InitStruct);

  /*Configure GPIO pins : LED_MCU_ON_Pin LED_MCU_ERROR_Pin LED_MCU_STATE_Pin */
  GPIO_InitStruct.Pin = LED_MCU_ON_Pin|LED_MCU_ERROR_Pin|LED_MCU_STATE_Pin;
  GPIO_InitStruct.Mode = GPIO_MODE_OUTPUT_PP;
  GPIO_InitStruct.Pull = GPIO_NOPULL;
  GPIO_InitStruct.Speed = GPIO_SPEED_FREQ_LOW;
  HAL_GPIO_Init(GPIOB, &GPIO_InitStruct);

  /* EXTI interrupt init*/
  HAL_NVIC_SetPriority(EXTI2_IRQn, 1, 0);
  HAL_NVIC_EnableIRQ(EXTI2_IRQn);

}

void Error_Handler(void)
{
  /* USER CODE BEGIN Error_Handler_Debug */
	/* User can add his own implementation to report the HAL error return state */
	__disable_irq();
	GPIO_Set(LED_MCU_ERROR_GPIO_Port, LED_MCU_ERROR_Pin);
	while (1)
	{
	}
  /* USER CODE END Error_Handler_Debug */
}
